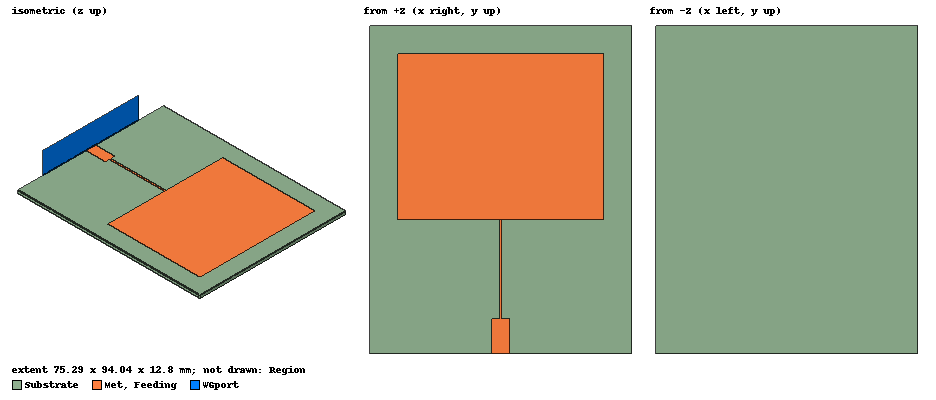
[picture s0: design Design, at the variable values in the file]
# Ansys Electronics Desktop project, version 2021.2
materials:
  Substrate: permittivity=2.2
  pec: conductivity=1e+30
  vacuum: permittivity=1

design Design (HFSS, DrivenModal, model units mm)
options: Allow_Material_Override
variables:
  A = 47.527864mm
  B = 59.29mm
  ts = 1.6mm
  tc = 0.035mm
  Le = 8mm
  Lm = 10mm
  minorA = 28.51mm
  W = 4.9428695mm
  minorB = 2.07mm
  minorC = 2.07mm
  minorD = W/2-minorB-minorC
  L = 150mm
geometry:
  Substrate [Substrate] = box(corner=(-B/2-Le, -A/2-Lm-minorA, 0mm), size=(B+2*Le, A+Le+Lm+minorA, ts))
  Met [pec] = box(corner=(-B/2, -A/2, ts), size=(B, A, tc))
  Feeding [pec] = box(corner=(-W/2, -A/2-minorA-Lm, ts), size=(W, minorA+Lm, tc))
  WGport = rectangle(corner=(-5*W, -A/2-minorA-Lm, 0mm), x_size=10*W, y_size=8*ts)
  coordinate_system RelativeCS1 = origin=(0mm, -A/2-Lm-minorA, 0mm) x=(1mm, 0mm, 0mm) y=(0mm, 1mm, 0mm)
  WGport.rotate(axis=X, angle=90deg) in RelativeCS1
  Region [vacuum] = region(absolute_offset: +X=L/4, -X=L/4, +Y=L/4, -Y=0mm, +Z=L/4, -Z=L/8) in RelativeCS1
  Polyline1 = polyline(z=ts, xy: (W/2-minorB, Lm+minorA) (W/2-minorC, Lm) (W/2, Lm) (W/2, Lm +minorA) (W/2-minorB, Lm+minorA), closed, covered) in RelativeCS1
  Polyline1.thicken(tc)
  Polyline1_1 = Polyline1.duplicate_mirror(point=(0mm, 0mm, 0mm), normal=(1mm, 0mm, 0mm)) in RelativeCS1
  Polyline1_1.unite(Polyline1)
  Feeding.subtract(Polyline1_1)
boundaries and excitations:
  Ground: Perfect E Faces=Substrate.face(-z)
  Rad1: Radiation Objects=Region
  Port: Wave Port Objects=WGport NumModes=1 DeembedDist=-10mm Modes{Mode1{CharImp=Zpi RenormImp=50ohm}}
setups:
  Sweep: HfssDriven MultipleAdaptiveFreqsSetup{AdaptAt{Frequency=2GHz Delta=0.02} AdaptAt{Frequency=2.25GHz Delta=0.05}} MaximumPasses=20 MinimumPasses=1 MinimumConvergedPasses=1 PercentRefinement=30 BasisOrder=1 PortAccuracy=2
    sweep Discrete: 2GHz to 2GHz, 1 points; Type=Discrete
    sweep Interpolating: 1.75GHz to 2.25GHz, 401 points; Type=Interpolating InterpTolerance=0.5 InterpMaxSolns=250 InterpUsePortImped=false PassivityErrorTolerance=0.0001
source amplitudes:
  Port:1: 1W 0deg
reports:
  S11mag: dB(S(Port,Port)) vs Freq on Sweep : Interpolating
  S11pha: cang_rad(S(Port,Port)) vs Freq on Sweep : Interpolating
